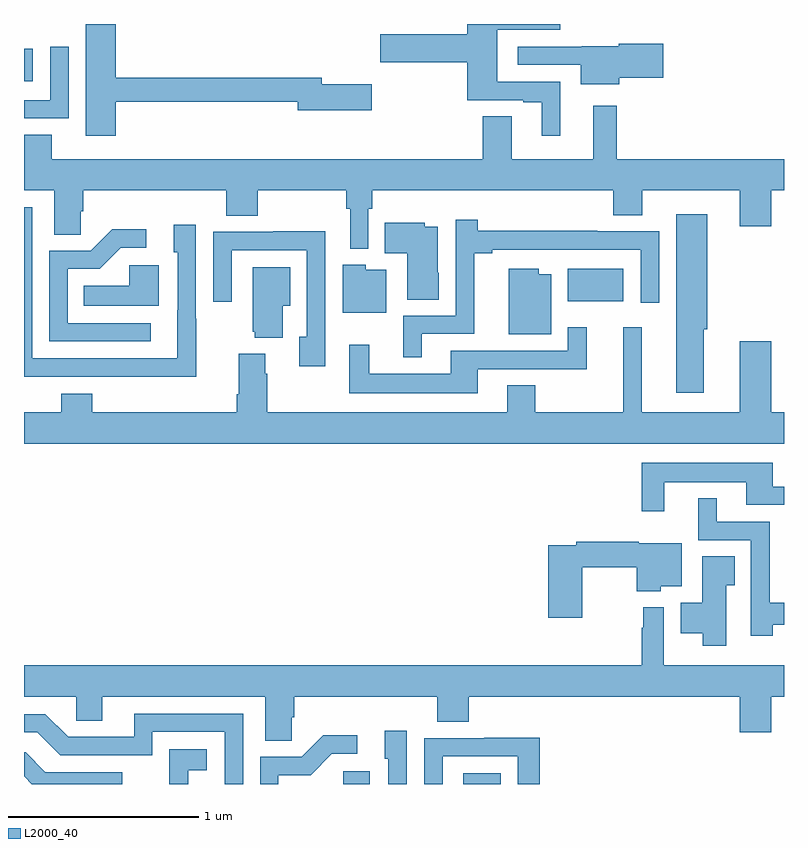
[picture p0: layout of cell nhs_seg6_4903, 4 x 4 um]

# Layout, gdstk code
import gdstk
lib = gdstk.Library(unit=1e-6, precision=1e-09)
def R(c, l, rs):  # rectangles x0, y0, x1, y1
    for r in rs: c.add(gdstk.rectangle(r[:2], r[2:], *l))
def P(c, l, *ps):  # polygons
    for p in ps: c.add(gdstk.Polygon(p, *l))
L2000_40 = (2000, 40)

nhs_seg6_4903 = lib.new_cell('nhs_seg6_4903')
R(nhs_seg6_4903, L2000_40, [(402.681,989.5,402.82,989.566), (403.313,989.5,403.51,989.557), (403.862,992.042,404.155,992.212), (401,993.2,401.047,993.37)])
P(nhs_seg6_4903, L2000_40, [(403.822,993.195),(403.492,993.195),(403.492,993.47),(403.822,993.47),(403.822,993.5),(403.334,993.5),(403.334,993.446),(402.876,993.446),(402.876,993.299),(403.334,993.299),(403.334,993.099),(403.628,993.099),(403.628,993.087),(403.724,993.087),(403.724,992.913),(403.822,992.913)],
  [(401.483,993.09),(402.44,993.09),(402.44,993.047),(402.829,993.047),(402.829,993.182),(402.568,993.182),(402.568,993.218),(401.483,993.218),(401.483,993.5),(401.324,993.5),(401.324,992.913),(401.483,992.913)],
  [(404.134,993.217),(404.365,993.217),(404.365,993.395),(404.13,993.395),(404.13,993.383),(403.935,993.383),(403.935,993.381),(403.599,993.381),(403.599,993.285),(403.931,993.285),(403.931,993.182),(404.134,993.182)],
  [(401.235,993.379),(401.139,993.379),(401.139,993.099),(401,993.099),(401,993.003),(401.235,993.003)],
  [(402.813,992.528),(402.833,992.528),(402.833,992.624),(404.102,992.624),(404.102,992.494),(404.254,992.494),(404.254,992.624),(404.768,992.624),(404.768,992.436),(404.932,992.436),(404.932,992.624),(405,992.624),(405,992.788),(404.119,992.788),(404.119,993.07),(403.997,993.07),(403.997,992.788),(403.567,992.788),(403.567,993.014),(403.415,993.014),(403.415,992.788),(401.146,992.788),(401.146,992.918),(401,992.918),(401,992.624),(401.159,992.624),(401.159,992.392),(401.298,992.392),(401.298,992.515),(401.312,992.515),(401.312,992.624),(402.065,992.624),(402.065,992.491),(402.23,992.491),(402.23,992.624),(402.697,992.624),(402.697,992.528),(402.716,992.528),(402.716,992.318),(402.813,992.318)],
  [(401.907,991.949),(401.904,991.949),(401.904,992.443),(401.789,992.443),(401.789,992.298),(401.808,992.298),(401.808,991.994),(401.807,991.994),(401.807,991.74),(401.043,991.74),(401.043,992.535),(401,992.535),(401,991.644),(401.443,991.644),(401.443,991.643),(401.907,991.643)],
  [(404.578,991.894),(404.596,991.894),(404.596,992.5),(404.432,992.5),(404.432,991.56),(404.578,991.56)],
  [(403.093,991.869),(403.37,991.869),(403.37,992.293),(403.465,992.293),(403.465,992.313),(404.247,992.313),(404.247,992.034),(404.343,992.034),(404.343,992.409),(404.018,992.409),(404.018,992.411),(403.388,992.411),(403.388,992.47),(403.272,992.47),(403.272,991.965),(402.995,991.965),(402.995,991.745),(403.093,991.745)],
  [(403.183,992.19),(403.177,992.19),(403.177,992.434),(403.11,992.434),(403.11,992.455),(402.898,992.455),(402.898,992.294),(403.016,992.294),(403.016,992.05),(403.183,992.05)],
  [(401.668,991.926),(401.229,991.926),(401.229,992.211),(401.398,992.211),(401.509,992.322),(401.644,992.322),(401.644,992.42),(401.465,992.42),(401.352,992.307),(401.133,992.307),(401.133,991.83),(401.668,991.83)],
  [(402.585,992.408),(402.313,992.408),(402.313,992.406),(401.997,992.406),(401.997,992.037),(402.093,992.037),(402.093,992.31),(402.489,992.31),(402.489,991.854),(402.449,991.854),(402.449,991.698),(402.585,991.698)],
  [(402.907,992.206),(402.798,992.206),(402.798,992.233),(402.677,992.233),(402.677,991.979),(402.907,991.979)],
  [(401.71,992.23),(401.553,992.23),(401.553,992.122),(401.314,992.122),(401.314,992.018),(401.71,992.018)],
  [(402.361,992.018),(402.4,992.018),(402.4,992.221),(402.203,992.221),(402.203,991.881),(402.215,991.881),(402.215,991.85),(402.361,991.85)],
  [(403.774,992.182),(403.708,992.182),(403.708,992.212),(403.55,992.212),(403.55,991.868),(403.774,991.868)],
  [(403.387,991.683),(403.961,991.683),(403.961,991.903),(403.863,991.903),(403.863,991.779),(403.247,991.779),(403.247,991.66),(402.817,991.66),(402.817,991.813),(402.713,991.813),(402.713,991.556),(403.387,991.556)],
  [(405,991.456),(404.932,991.456),(404.932,991.831),(404.768,991.831),(404.768,991.456),(404.252,991.456),(404.252,991.903),(404.153,991.903),(404.153,991.456),(403.692,991.456),(403.692,991.598),(403.544,991.598),(403.544,991.456),(402.279,991.456),(402.279,991.658),(402.271,991.658),(402.271,991.765),(402.131,991.765),(402.131,991.552),(402.119,991.552),(402.119,991.456),(401.36,991.456),(401.36,991.555),(401.195,991.555),(401.195,991.456),(401,991.456),(401,991.292),(405,991.292)],
  [(404.371,991.088),(404.801,991.088),(404.801,990.969),(405,990.969),(405,991.065),(404.941,991.065),(404.941,991.192),(404.25,991.192),(404.25,990.936),(404.371,990.936)],
  [(404.942,990.338),(405,990.338),(405,990.455),(404.924,990.455),(404.924,990.879),(404.647,990.879),(404.647,991.003),(404.549,991.003),(404.549,990.783),(404.826,990.783),(404.826,990.279),(404.942,990.279)],
  [(403.938,990.64),(404.224,990.64),(404.224,990.515),(404.352,990.515),(404.352,990.542),(404.461,990.542),(404.461,990.766),(404.235,990.766),(404.235,990.776),(403.906,990.776),(403.906,990.756),(403.76,990.756),(403.76,990.375),(403.938,990.375)],
  [(404.695,990.547),(404.741,990.547),(404.741,990.698),(404.57,990.698),(404.57,990.454),(404.456,990.454),(404.456,990.293),(404.573,990.293),(404.573,990.228),(404.695,990.228)],
  [(402.408,989.851),(402.422,989.851),(402.422,989.96),(403.175,989.96),(403.175,989.827),(403.34,989.827),(403.34,989.96),(404.768,989.96),(404.768,989.772),(404.932,989.772),(404.932,989.96),(405,989.96),(405,990.124),(404.367,990.124),(404.367,990.43),(404.259,990.43),(404.259,990.323),(404.251,990.323),(404.251,990.124),(401,990.124),(401,989.96),(401.274,989.96),(401.274,989.833),(401.413,989.833),(401.413,989.96),(402.269,989.96),(402.269,989.728),(402.408,989.728)],
  [(402.153,989.871),(401.579,989.871),(401.579,989.748),(401.232,989.748),(401.112,989.868),(401,989.868),(401,989.772),(401.07,989.772),(401.19,989.652),(401.676,989.652),(401.676,989.775),(402.057,989.775),(402.057,989.5),(402.153,989.5)],
  [(403.014,989.779),(402.899,989.779),(402.899,989.634),(402.918,989.634),(402.918,989.5),(403.014,989.5)],
  [(402.339,989.547),(402.508,989.547),(402.619,989.658),(402.754,989.658),(402.754,989.756),(402.575,989.756),(402.462,989.643),(402.243,989.643),(402.243,989.5),(402.339,989.5)],
  [(403.203,989.646),(403.599,989.646),(403.599,989.5),(403.715,989.5),(403.715,989.744),(403.423,989.744),(403.423,989.742),(403.107,989.742),(403.107,989.5),(403.203,989.5)],
  [(401.864,989.573),(401.962,989.573),(401.962,989.683),(401.764,989.683),(401.764,989.5),(401.864,989.5)],
  [(401.517,989.562),(401.113,989.562),(401.008,989.667),(401,989.667),(401,989.542),(401.042,989.5),(401.517,989.5)])

lib.write_gds('nhs_seg6_4903.gds')
